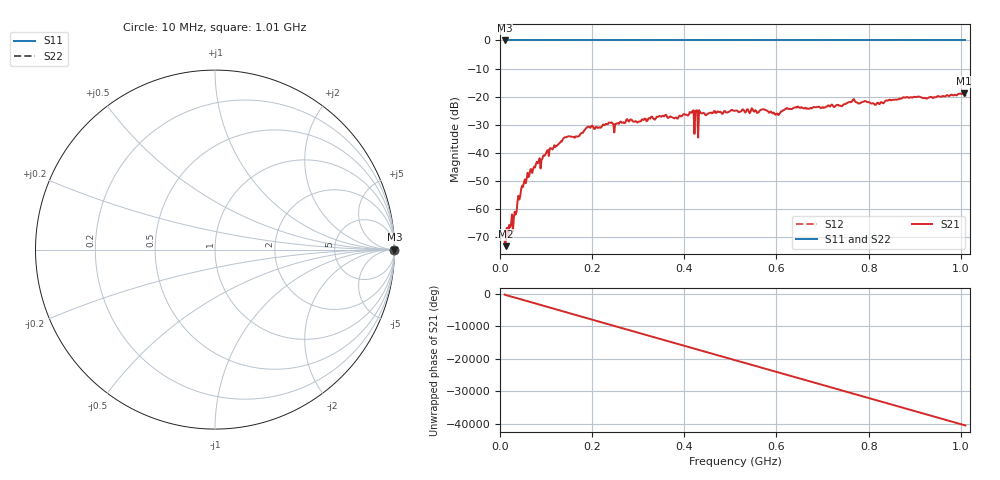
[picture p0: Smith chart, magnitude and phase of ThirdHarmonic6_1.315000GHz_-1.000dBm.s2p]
! 8/16/2025 2:34:54 PM
! C:\ANRITSUVNA\TEMP\TEMP.S2P
! CHANNEL.1
! TR.MEASUREMENT
! RAW.DATA
! RF.CORRECTION.OFF
! AVERAGING.OFF
! IF.BANDWIDTH: 5KHZ
! SWEEPTYPE:  FREQ.SWEEP(Linear)
! Reference Plane Port Info
! PORT:  PORT1  PORT2
! DISTANCE:  0  m  0  m
! TIME:  0  s  0  s
! PHASE.OFFSET:  0  deg.  0  deg.
! LOSS:  0  dB  0  dB
! REF.LOSS:  0  dB  0  dB
! REF.FREQ:  0  Hz  0  Hz
! Power Info
! POWER:  -20  dBm  -20  dBm
! EFF.POWER:  -20  dBm  -20  dBm
! SOURCE.ATTEN:  0  dB  0  dB
! TEST.ATTEN:  0  dB  0  dB
# GHZ S RI R 50.0
! FREQ.GHZ  S11RE  S11IM  S21RE  S21IM  S12RE  S12IM  S22RE  S22IM
!; PortSelection: Port_12
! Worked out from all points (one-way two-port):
!   501 points, 10 MHz to 1.01 GHz, reference 50 ohm
!   highest |S21| = -18.80 dB at 1.006 GHz (marker M1); lowest = -73.3 dB at 12 MHz (marker M2)
!   lowest |S11| = 0.0 dB at 10 MHz (marker M3)
!   |S11| at or under -10 dB: nowhere
!   |S22| runs from 0.0 to 0.0 dB; largest |S21 - S12| = 1.1
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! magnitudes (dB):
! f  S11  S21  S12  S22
! 10 MHz  0.0  -71.5  0.0  0.0
! 12 MHz  0.0  -73.3  0.0  0.0
! 32 MHz  0.0  -61.0  0.0  0.0
! 50 MHz  0.0  -52.2  0.0  0.0
! 64 MHz  0.0  -47.8  0.0  0.0
! 140 MHz  0.0  -34.6  0.0  0.0
! 178 MHz  0.0  -32.9  0.0  0.0
! 196 MHz  0.0  -31.1  0.0  0.0
! 344 MHz  0.0  -27.1  0.0  0.0
! 382 MHz  0.0  -27.5  0.0  0.0
! 416 MHz  0.0  -25.8  0.0  0.0
! 424 MHz  0.0  -25.1  0.0  0.0
! 426 MHz  0.0  -24.9  0.0  0.0
! 436 MHz  0.0  -25.9  0.0  0.0
! 510 MHz  0.0  -25.1  0.0  0.0
! 572 MHz  0.0  -24.6  0.0  0.0
! 602 MHz  0.0  -26.1  0.0  0.0
! 622 MHz  0.0  -24.1  0.0  0.0
! 678 MHz  0.0  -24.0  0.0  0.0
! 844 MHz  0.0  -21.2  0.0  0.0
! 1.006 GHz  0.0  -18.8  0.0  0.0
! 1.01 GHz  0.0  -19.6  0.0  0.0
